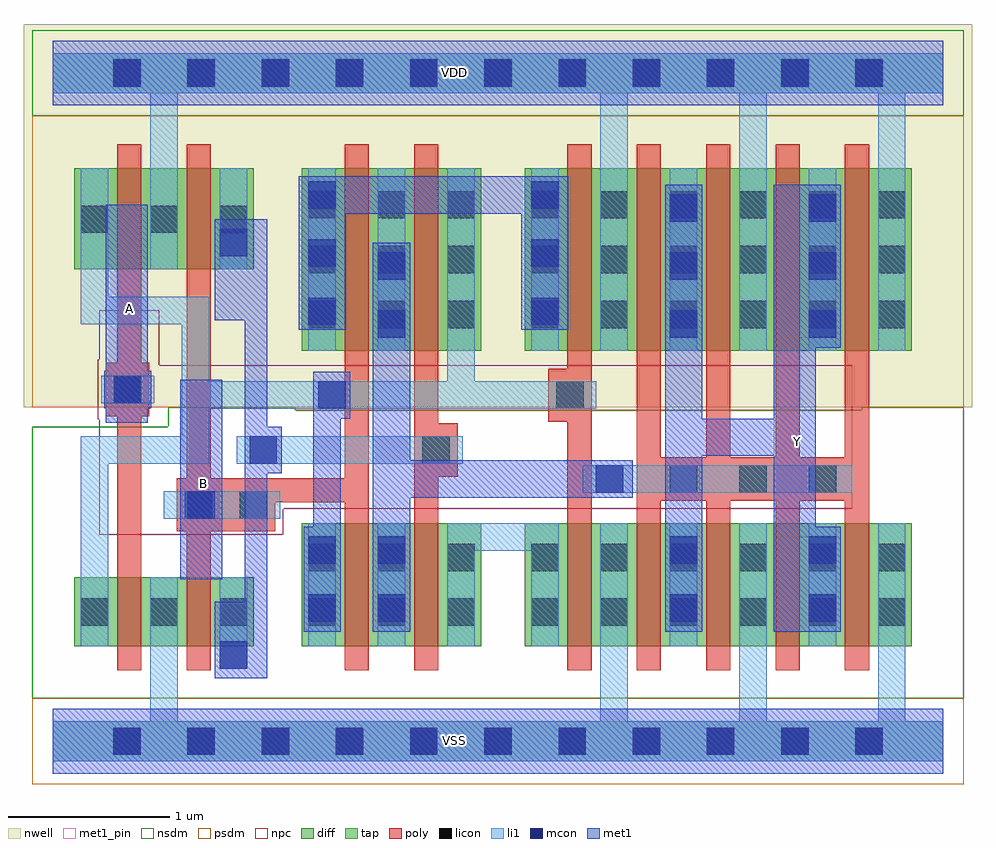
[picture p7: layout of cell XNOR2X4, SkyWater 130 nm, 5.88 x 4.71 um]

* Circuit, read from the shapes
.subckt XNOR2X4 A B VDD VSS Y
XM1 VSS A n1 VSS sky130_fd_pr__nfet_01v8 w=0.425 l=0.15
XM2 n2 B VSS VSS sky130_fd_pr__nfet_01v8 w=0.425 l=0.15
XM3 n3 B n1 VSS sky130_fd_pr__nfet_01v8 w=0.76 l=0.15
XM4 n4 n2 n3 VSS sky130_fd_pr__nfet_01v8 w=0.76 l=0.15
XM5 VSS n1 n4 VSS sky130_fd_pr__nfet_01v8 w=0.76 l=0.15
XM6 Y n3 VSS VSS sky130_fd_pr__nfet_01v8 w=0.76 l=0.15 m=4
XM7 VDD A n1 VDD sky130_fd_pr__pfet_01v8 w=0.625 l=0.15
XM8 n2 B VDD VDD sky130_fd_pr__pfet_01v8 w=0.625 l=0.15
XM9 n3 B n5 VDD sky130_fd_pr__pfet_01v8 w=1.13 l=0.15
XM10 n1 n2 n3 VDD sky130_fd_pr__pfet_01v8 w=1.13 l=0.15
XM11 VDD n1 n5 VDD sky130_fd_pr__pfet_01v8 w=1.13 l=0.15
XM12 Y n3 VDD VDD sky130_fd_pr__pfet_01v8 w=1.13 l=0.15 m=4
.ends

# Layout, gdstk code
from math import pi, radians
import gdstk
lib = gdstk.Library(unit=1e-6, precision=1e-09)
def R(c, l, rs):  # rectangles x0, y0, x1, y1
    for r in rs: c.add(gdstk.rectangle(r[:2], r[2:], *l))
def A(c, l, x, y, w, h, nx, ny, dx, dy):  # array of equal rectangles
    R(c, l, [(x+i*dx, y+j*dy, x+i*dx+w, y+j*dy+h) for i in range(nx) for j in range(ny)])
def P(c, l, *ps):  # polygons
    for p in ps: c.add(gdstk.Polygon(p, *l))
nwell = (64, 20)
diff = (65, 20)
tap = (65, 44)
poly = (66, 20)
licon = (66, 44)
li1 = (67, 20)
mcon = (67, 44)
met1_pin = (68, 16)
met1 = (68, 20)
nsdm = (93, 44)
psdm = (94, 20)
npc = (95, 20)

pfet_01v8_cdns_715785618 = lib.new_cell('pfet_01v8_CDNS_7157856182016')
R(pfet_01v8_cdns_715785618, nwell, [(-0.405,-0.18,1.885,1.31)])
A(pfet_01v8_cdns_715785618, diff, 0, 0, 0.15, 1.13, 4, 1, 0.43, 0)
A(pfet_01v8_cdns_715785618, diff, 0.15, 0, 0.28, 1.13, 3, 1, 0.43, 0)
R(pfet_01v8_cdns_715785618, diff, [(-0.225,0,0,1.13), (1.44,0,1.705,1.13)])
A(pfet_01v8_cdns_715785618, poly, 0, -0.15, 0.15, 0.055, 4, 2, 0.43, 1.375)
A(pfet_01v8_cdns_715785618, poly, 0, -0.095, 0.15, 0.095, 4, 2, 0.43, 1.225)
A(pfet_01v8_cdns_715785618, poly, 0, 0, 0.15, 1.13, 4, 1, 0.43, 0)
A(pfet_01v8_cdns_715785618, licon, -0.225, 0.14, 0.17, 0.17, 5, 3, 0.43, 0.34)
A(pfet_01v8_cdns_715785618, li1, -0.225, 0, 0.17, 1.13, 5, 1, 0.43, 0)
R(pfet_01v8_cdns_715785618, psdm, [(-0.235,-0.13,1.845,1.26)])

nfet_01v8_cdns_715785618 = lib.new_cell('nfet_01v8_CDNS_7157856182041')
R(nfet_01v8_cdns_715785618, diff, [(-0.225,0,0,0.425), (0,0,0.15,0.425), (0.15,0,0.415,0.425)])
R(nfet_01v8_cdns_715785618, poly, [(0,-0.15,0.15,-0.095), (0,-0.095,0.15,0), (0,0,0.15,0.425), (0,0.425,0.15,0.52), (0,0.52,0.15,0.575)])
R(nfet_01v8_cdns_715785618, licon, [(-0.225,0.125,-0.055,0.295), (0.205,0.125,0.375,0.295)])
R(nfet_01v8_cdns_715785618, li1, [(-0.225,0,-0.055,0.425), (0.205,0,0.375,0.425)])
R(nfet_01v8_cdns_715785618, nsdm, [(-0.235,-0.13,0.555,0.555)])

c_nfet_01v8_cdns_715785618 = lib.new_cell('nfet_01v8_CDNS_7157856182018')
A(c_nfet_01v8_cdns_715785618, diff, 0, 0, 0.15, 0.76, 4, 1, 0.43, 0)
A(c_nfet_01v8_cdns_715785618, diff, 0.15, 0, 0.28, 0.76, 3, 1, 0.43, 0)
R(c_nfet_01v8_cdns_715785618, diff, [(-0.225,0,0,0.76), (1.44,0,1.705,0.76)])
A(c_nfet_01v8_cdns_715785618, poly, 0, -0.15, 0.15, 0.055, 4, 2, 0.43, 1.005)
A(c_nfet_01v8_cdns_715785618, poly, 0, -0.095, 0.15, 0.095, 4, 2, 0.43, 0.855)
A(c_nfet_01v8_cdns_715785618, poly, 0, 0, 0.15, 0.76, 4, 1, 0.43, 0)
A(c_nfet_01v8_cdns_715785618, licon, -0.225, 0.125, 0.17, 0.17, 5, 2, 0.43, 0.34)
A(c_nfet_01v8_cdns_715785618, li1, -0.225, 0, 0.17, 0.76, 5, 1, 0.43, 0)
R(c_nfet_01v8_cdns_715785618, nsdm, [(-0.235,-0.13,1.845,0.89)])

c_nfet_01v8_cdns_715785618_ = lib.new_cell('nfet_01v8_CDNS_7157856182042')
R(c_nfet_01v8_cdns_715785618_, diff, [(-0.265,0,0,0.425), (0,0,0.15,0.425), (0.15,0,0.205,0.425)])
R(c_nfet_01v8_cdns_715785618_, poly, [(0,-0.15,0.15,-0.095), (0,-0.095,0.15,0), (0,0,0.15,0.425), (0,0.425,0.15,0.52), (0,0.52,0.15,0.575)])
R(c_nfet_01v8_cdns_715785618_, licon, [(-0.225,0.125,-0.055,0.295)])
R(c_nfet_01v8_cdns_715785618_, li1, [(-0.225,0,-0.055,0.425)])
R(c_nfet_01v8_cdns_715785618_, nsdm, [(-0.405,-0.13,0.215,0.555)])

c_nfet_01v8_cdns_715785618__ = lib.new_cell('nfet_01v8_CDNS_7157856182043')
R(c_nfet_01v8_cdns_715785618__, diff, [(-0.055,0,0,0.76), (0,0,0.15,0.76), (0.15,0,0.415,0.76)])
R(c_nfet_01v8_cdns_715785618__, poly, [(0,-0.15,0.15,-0.095), (0,-0.095,0.15,0), (0,0,0.15,0.76), (0,0.76,0.15,0.855), (0,0.855,0.15,0.91)])
R(c_nfet_01v8_cdns_715785618__, licon, [(0.205,0.125,0.375,0.295), (0.205,0.465,0.375,0.635)])
R(c_nfet_01v8_cdns_715785618__, li1, [(0.205,0,0.375,0.76)])
R(c_nfet_01v8_cdns_715785618__, nsdm, [(-0.065,-0.13,0.555,0.89)])

c_nfet_01v8_cdns_715785618___ = lib.new_cell('nfet_01v8_CDNS_715785618203')
R(c_nfet_01v8_cdns_715785618___, diff, [(-0.055,0,0,0.76), (0,0,0.15,0.76), (0.15,0,0.415,0.76)])
R(c_nfet_01v8_cdns_715785618___, poly, [(0,-0.15,0.15,-0.095), (0,-0.095,0.15,0), (0,0,0.15,0.76), (0,0.76,0.15,0.855), (0,0.855,0.15,0.91)])
R(c_nfet_01v8_cdns_715785618___, licon, [(0.205,0.125,0.375,0.295), (0.205,0.465,0.375,0.635)])
R(c_nfet_01v8_cdns_715785618___, li1, [(0.205,0,0.375,0.76)])
R(c_nfet_01v8_cdns_715785618___, nsdm, [(-0.065,-0.13,0.555,0.89)])

c_pfet_01v8_cdns_715785618 = lib.new_cell('pfet_01v8_CDNS_7157856182044')
R(c_pfet_01v8_cdns_715785618, nwell, [(-0.445,-0.18,0.555,0.805)])
R(c_pfet_01v8_cdns_715785618, diff, [(-0.265,0,0,0.625), (0,0,0.15,0.625), (0.15,0,0.375,0.625)])
R(c_pfet_01v8_cdns_715785618, poly, [(0,-0.15,0.15,-0.095), (0,-0.095,0.15,0), (0,0,0.15,0.625), (0,0.625,0.15,0.72), (0,0.72,0.15,0.775)])
R(c_pfet_01v8_cdns_715785618, licon, [(-0.225,0.225,-0.055,0.395), (0.205,0.225,0.375,0.395)])
R(c_pfet_01v8_cdns_715785618, li1, [(-0.225,0,-0.055,0.625), (0.205,0,0.375,0.625)])
R(c_pfet_01v8_cdns_715785618, psdm, [(-0.405,-0.13,0.385,0.755)])

c_pfet_01v8_cdns_715785618_ = lib.new_cell('pfet_01v8_CDNS_7157856182045')
R(c_pfet_01v8_cdns_715785618_, nwell, [(-0.445,-0.18,0.555,1.31)])
R(c_pfet_01v8_cdns_715785618_, diff, [(-0.265,0,0,1.13), (0,0,0.15,1.13), (0.15,0,0.375,1.13)])
R(c_pfet_01v8_cdns_715785618_, poly, [(0,-0.15,0.15,-0.095), (0,-0.095,0.15,0), (0,0,0.15,1.13), (0,1.13,0.15,1.225), (0,1.225,0.15,1.28)])
A(c_pfet_01v8_cdns_715785618_, licon, -0.225, 0.14, 0.17, 0.17, 1, 3, 0, 0.34)
A(c_pfet_01v8_cdns_715785618_, licon, 0.205, 0.14, 0.17, 0.17, 1, 3, 0, 0.34)
R(c_pfet_01v8_cdns_715785618_, li1, [(-0.225,0,-0.055,1.13), (0.205,0,0.375,1.13)])
R(c_pfet_01v8_cdns_715785618_, psdm, [(-0.405,-0.13,0.385,1.26)])

c_pfet_01v8_cdns_715785618__ = lib.new_cell('pfet_01v8_CDNS_715785618204')
R(c_pfet_01v8_cdns_715785618__, nwell, [(-0.235,-0.18,0.595,1.31)])
R(c_pfet_01v8_cdns_715785618__, diff, [(-0.055,0,0,1.13), (0,0,0.15,1.13), (0.15,0,0.415,1.13)])
R(c_pfet_01v8_cdns_715785618__, poly, [(0,-0.15,0.15,-0.095), (0,-0.095,0.15,0), (0,0,0.15,1.13), (0,1.13,0.15,1.225), (0,1.225,0.15,1.28)])
A(c_pfet_01v8_cdns_715785618__, licon, 0.205, 0.14, 0.17, 0.17, 1, 3, 0, 0.34)
R(c_pfet_01v8_cdns_715785618__, li1, [(0.205,0,0.375,1.13)])
R(c_pfet_01v8_cdns_715785618__, psdm, [(-0.065,-0.13,0.555,1.26)])

c_pfet_01v8_cdns_715785618___ = lib.new_cell('pfet_01v8_CDNS_7157856182046')
R(c_pfet_01v8_cdns_715785618___, nwell, [(-0.235,-0.18,0.595,1.31)])
R(c_pfet_01v8_cdns_715785618___, diff, [(-0.055,0,0,1.13), (0,0,0.15,1.13), (0.15,0,0.415,1.13)])
R(c_pfet_01v8_cdns_715785618___, poly, [(0,-0.15,0.15,-0.095), (0,-0.095,0.15,0), (0,0,0.15,1.13), (0,1.13,0.15,1.225), (0,1.225,0.15,1.28)])
A(c_pfet_01v8_cdns_715785618___, licon, 0.205, 0.14, 0.17, 0.17, 1, 3, 0, 0.34)
R(c_pfet_01v8_cdns_715785618___, li1, [(0.205,0,0.375,1.13)])
R(c_pfet_01v8_cdns_715785618___, psdm, [(-0.065,-0.13,0.555,1.26)])

c_nfet_01v8_cdns_715785618____ = lib.new_cell('nfet_01v8_CDNS_7157856182021')
R(c_nfet_01v8_cdns_715785618____, diff, [(-0.265,0,0,0.76), (0,0,0.15,0.76), (0.15,0,0.375,0.76)])
R(c_nfet_01v8_cdns_715785618____, poly, [(0,-0.15,0.15,-0.095), (0,-0.095,0.15,0), (0,0,0.15,0.76), (0,0.76,0.15,0.855), (0,0.855,0.15,0.91)])
R(c_nfet_01v8_cdns_715785618____, licon, [(-0.225,0.125,-0.055,0.295), (0.205,0.125,0.375,0.295), (-0.225,0.465,-0.055,0.635), (0.205,0.465,0.375,0.635)])
R(c_nfet_01v8_cdns_715785618____, li1, [(-0.225,0,-0.055,0.76), (0.205,0,0.375,0.76)])
R(c_nfet_01v8_cdns_715785618____, nsdm, [(-0.405,-0.13,0.385,0.89)])

c_pfet_01v8_cdns_715785618____ = lib.new_cell('pfet_01v8_CDNS_7157856182017')
R(c_pfet_01v8_cdns_715785618____, nwell, [(-0.235,-0.18,0.595,0.805)])
R(c_pfet_01v8_cdns_715785618____, diff, [(-0.055,0,0,0.625), (0,0,0.15,0.625), (0.15,0,0.415,0.625)])
R(c_pfet_01v8_cdns_715785618____, poly, [(0,-0.15,0.15,-0.095), (0,-0.095,0.15,0), (0,0,0.15,0.625), (0,0.625,0.15,0.72), (0,0.72,0.15,0.775)])
R(c_pfet_01v8_cdns_715785618____, licon, [(0.205,0.225,0.375,0.395)])
R(c_pfet_01v8_cdns_715785618____, li1, [(0.205,0,0.375,0.625)])
R(c_pfet_01v8_cdns_715785618____, psdm, [(-0.065,-0.13,0.555,0.755)])

polyconn_cdns_7157856182 = lib.new_cell('polyConn_CDNS_7157856182040')
R(polyconn_cdns_7157856182, poly, [(-0.165,-0.135,0.165,0.135)])
R(polyconn_cdns_7157856182, licon, [(-0.085,-0.085,0.085,0.085)])
R(polyconn_cdns_7157856182, li1, [(-0.085,-0.165,0.085,0.165)])
R(polyconn_cdns_7157856182, mcon, [(-0.085,-0.085,0.085,0.085)])
R(polyconn_cdns_7157856182, met1, [(-0.115,-0.145,0.115,0.145)])
R(polyconn_cdns_7157856182, npc, [(-0.185,-0.185,0.185,0.185)])

pyl1con_c_cdns_715785618 = lib.new_cell('PYL1CON_C_CDNS_715785618200')
R(pyl1con_c_cdns_715785618, poly, [(-0.135,-0.165,0.135,0.165)])
R(pyl1con_c_cdns_715785618, licon, [(-0.085,-0.085,0.085,0.085)])
R(pyl1con_c_cdns_715785618, npc, [(-0.185,-0.185,0.185,0.185)])

l1m1_c_cdns_715785618202 = lib.new_cell('L1M1_C_CDNS_715785618202')
R(l1m1_c_cdns_715785618202, li1, [(-0.085,-0.165,0.085,0.165)])
R(l1m1_c_cdns_715785618202, mcon, [(-0.085,-0.085,0.085,0.085)])
R(l1m1_c_cdns_715785618202, met1, [(-0.115,-0.145,0.115,0.145)])

l1m1_c_cdns_715785618203 = lib.new_cell('L1M1_C_CDNS_715785618203')
R(l1m1_c_cdns_715785618203, li1, [(-0.165,-0.085,0.165,0.085)])
R(l1m1_c_cdns_715785618203, mcon, [(-0.085,-0.085,0.085,0.085)])
R(l1m1_c_cdns_715785618203, met1, [(-0.115,-0.145,0.115,0.145)])

l1m1_c_cdns_715785618205 = lib.new_cell('L1M1_C_CDNS_715785618205')
R(l1m1_c_cdns_715785618205, li1, [(-0.085,-0.345,0.085,0.345)])
R(l1m1_c_cdns_715785618205, mcon, [(-0.085,-0.265,0.085,-0.095), (-0.085,0.095,0.085,0.265)])
R(l1m1_c_cdns_715785618205, met1, [(-0.115,-0.325,0.115,0.325)])

l1m1_c_cdns_715785618206 = lib.new_cell('L1M1_C_CDNS_715785618206')
R(l1m1_c_cdns_715785618206, li1, [(-0.085,-0.165,0.085,0.165)])
R(l1m1_c_cdns_715785618206, mcon, [(-0.085,-0.085,0.085,0.085)])
R(l1m1_c_cdns_715785618206, met1, [(-0.145,-0.115,0.145,0.115)])

l1m1_c_cdns_715785618207 = lib.new_cell('L1M1_C_CDNS_715785618207')
R(l1m1_c_cdns_715785618207, li1, [(-0.165,-0.085,0.165,0.085)])
R(l1m1_c_cdns_715785618207, mcon, [(-0.085,-0.085,0.085,0.085)])
R(l1m1_c_cdns_715785618207, met1, [(-0.145,-0.115,0.145,0.115)])

l1m1_c_cdns_715785618201 = lib.new_cell('L1M1_C_CDNS_7157856182016')
R(l1m1_c_cdns_715785618201, li1, [(-0.085,-0.525,0.085,0.525)])
A(l1m1_c_cdns_715785618201, mcon, -0.085, -0.445, 0.17, 0.17, 1, 3, 0, 0.36)
R(l1m1_c_cdns_715785618201, met1, [(-0.145,-0.475,0.145,0.475)])

l1m1_c_cdns_715785618204 = lib.new_cell('L1M1_C_CDNS_715785618204')
R(l1m1_c_cdns_715785618204, li1, [(-0.085,-0.525,0.085,0.525)])
A(l1m1_c_cdns_715785618204, mcon, -0.085, -0.445, 0.17, 0.17, 1, 3, 0, 0.36)
R(l1m1_c_cdns_715785618204, met1, [(-0.115,-0.505,0.115,0.505)])

c_l1m1_c_cdns_715785618201 = lib.new_cell('L1M1_C_CDNS_7157856182010')
R(c_l1m1_c_cdns_715785618201, li1, [(-0.085,-0.085,0.085,0.165)])
R(c_l1m1_c_cdns_715785618201, mcon, [(-0.085,-0.085,0.085,0.085)])
R(c_l1m1_c_cdns_715785618201, met1, [(-0.115,-0.145,0.115,0.145)])

xnor2x4 = lib.new_cell('XNOR2X4')
R(xnor2x4, nwell, [(-0.18,2.07,5.7,4.445), (-0.18,3.875,5.7,4.445)])
R(xnor2x4, poly, [(0.77,1.3,1.38,1.63)])
A(xnor2x4, licon, 0.375, -0.085, 0.17, 0.17, 11, 2, 0.46, 4.14)
A(xnor2x4, mcon, 0.375, -0.085, 0.17, 0.17, 11, 2, 0.46, 4.14)
R(xnor2x4, met1_pin, [(0.79,1.005,1.05,2.24), (4.47,1.265,4.73,2.505), (0.33,1.975,0.59,3.325)])
R(xnor2x4, met1, [(1.005,0.39,1.33,0.865), (1.005,0.39,1.235,0.865), (1.005,2.61,1.33,3.235)])
R(xnor2x4, nsdm, [(-0.125,3.875,5.645,4.405), (-0.125,3.93,5.645,4.35)])
P(xnor2x4, nsdm, [(5.645,2.07),(5.015,2.07),(5.015,2.05),(1.505,2.05),(1.505,2.07),(0.715,2.07),(0.715,1.95),(-0.125,1.95),(-0.125,0.265),(5.645,0.265)])
R(xnor2x4, psdm, [(-0.125,-0.265,5.645,0.265), (-0.125,-0.21,5.645,0.21)])
P(xnor2x4, psdm, [(5.645,3.875),(-0.125,3.875),(-0.125,2.07),(1.505,2.07),(1.505,2.05),(5.015,2.05),(5.015,2.07),(5.645,2.07)])
P(xnor2x4, npc, [(4.955,2.33),(0.66,2.33),(0.66,2.67),(0.29,2.67),(0.29,1.28),(1.43,1.28),(1.43,1.44),(4.955,1.44)])
xnor2x4.add(gdstk.FlexPath([(1.885,1.555),(0.77,1.555)], 0.15, ends=(0.075, 0), simple_path=True, layer=66, datatype=20))  # poly
xnor2x4.add(gdstk.FlexPath([(0.905,1.11),(0.905,2.83)], 0.15, ends="flush", simple_path=True, layer=66, datatype=20))  # poly
xnor2x4.add(gdstk.FlexPath([(0.475,2.83),(0.475,1.11)], 0.15, ends="flush", simple_path=True, layer=66, datatype=20))  # poly
xnor2x4.add(gdstk.FlexPath([(3.695,2.325),(3.695,1.445)], 0.15, ends="flush", simple_path=True, layer=66, datatype=20))  # poly
xnor2x4.add(gdstk.FlexPath([(4.125,2.325),(4.125,1.445)], 0.15, ends="flush", simple_path=True, layer=66, datatype=20))  # poly
xnor2x4.add(gdstk.FlexPath([(4.555,2.325),(4.555,1.445)], 0.15, ends="flush", simple_path=True, layer=66, datatype=20))  # poly
xnor2x4.add(gdstk.FlexPath([(2.315,2.325),(2.315,1.45)], 0.15, ends="flush", simple_path=True, layer=66, datatype=20))  # poly
xnor2x4.add(gdstk.FlexPath([(1.885,1.555),(1.885,2.325)], 0.15, ends=(0.075, 0), simple_path=True, layer=66, datatype=20))  # poly
xnor2x4.add(gdstk.FlexPath([(4.985,2.42),(4.985,1.445)], 0.15, ends="flush", simple_path=True, layer=66, datatype=20))  # poly
xnor2x4.add(gdstk.FlexPath([(3.265,2.325),(3.265,1.445)], 0.15, ends="flush", simple_path=True, layer=66, datatype=20))  # poly
xnor2x4.add(gdstk.FlexPath([(0,4.14),(5.52,4.14)], 0.4, ends="flush", simple_path=True, layer=68, datatype=16))  # met1_pin
xnor2x4.add(gdstk.FlexPath([(0,0),(5.52,0)], 0.4, ends="flush", simple_path=True, layer=68, datatype=16))  # met1_pin
xnor2x4.add(gdstk.FlexPath([(0.26,2.67),(0.26,2.925)], 0.17, ends=(0.085, 0), simple_path=True, layer=67, datatype=20))  # li1
xnor2x4.add(gdstk.FlexPath([(0.26,1.015),(0.26,1.805)], 0.17, ends=(0, 0.085), simple_path=True, layer=67, datatype=20))  # li1
xnor2x4.add(gdstk.FlexPath([(3.37,2.145),(0.885,2.145)], 0.17, ends="flush", simple_path=True, layer=67, datatype=20))  # li1
xnor2x4.add(gdstk.FlexPath([(2.54,1.805),(1.14,1.805)], 0.17, ends="flush", simple_path=True, layer=67, datatype=20))  # li1
xnor2x4.add(gdstk.FlexPath([(4.955,1.625),(3.285,1.625)], 0.17, ends="flush", simple_path=True, layer=67, datatype=20))  # li1
xnor2x4.add(gdstk.FlexPath([(2.53,3.55),(2.53,2.06)], 0.17, ends="flush", simple_path=True, layer=67, datatype=20))  # li1
xnor2x4.add(gdstk.FlexPath([(3.135,1.265),(2.445,1.265)], 0.17, ends="flush", simple_path=True, layer=67, datatype=20))  # li1
xnor2x4.add(gdstk.FlexPath([(1.41,1.465),(0.69,1.465)], 0.17, ends="flush", simple_path=True, layer=67, datatype=20))  # li1
xnor2x4.add(gdstk.FlexPath([(0.885,2.67),(0.26,2.67)], 0.17, ends="extended", simple_path=True, layer=67, datatype=20))  # li1
xnor2x4.add(gdstk.FlexPath([(0.885,1.805),(0.885,2.67)], 0.17, ends="extended", simple_path=True, layer=67, datatype=20))  # li1
xnor2x4.add(gdstk.FlexPath([(0.26,1.805),(0.885,1.805)], 0.17, ends="extended", simple_path=True, layer=67, datatype=20))  # li1
xnor2x4.add(gdstk.FlexPath([(0,0),(5.52,0)], 0.25, ends="flush", simple_path=True, layer=67, datatype=20))  # li1
xnor2x4.add(gdstk.FlexPath([(0,4.14),(5.52,4.14)], 0.25, ends="flush", simple_path=True, layer=67, datatype=20))  # li1
xnor2x4.add(gdstk.FlexPath([(3.48,2.925),(3.48,4.265)], 0.17, ends="flush", simple_path=True, layer=67, datatype=20))  # li1
xnor2x4.add(gdstk.FlexPath([(4.34,-0.125),(4.34,0.59)], 0.17, ends="flush", simple_path=True, layer=67, datatype=20))  # li1
xnor2x4.add(gdstk.FlexPath([(4.34,2.925),(4.34,4.265)], 0.17, ends="flush", simple_path=True, layer=67, datatype=20))  # li1
xnor2x4.add(gdstk.FlexPath([(5.2,-0.125),(5.2,0.59)], 0.17, ends="flush", simple_path=True, layer=67, datatype=20))  # li1
xnor2x4.add(gdstk.FlexPath([(5.2,2.925),(5.2,4.265)], 0.17, ends="flush", simple_path=True, layer=67, datatype=20))  # li1
xnor2x4.add(gdstk.FlexPath([(0.69,-0.125),(0.69,1.015)], 0.17, ends="flush", simple_path=True, layer=67, datatype=20))  # li1
xnor2x4.add(gdstk.FlexPath([(0.69,2.925),(0.69,4.265)], 0.17, ends="flush", simple_path=True, layer=67, datatype=20))  # li1
xnor2x4.add(gdstk.FlexPath([(3.48,-0.125),(3.48,0.59)], 0.17, ends="flush", simple_path=True, layer=67, datatype=20))  # li1
xnor2x4.add(gdstk.FlexPath([(0,4.14),(5.52,4.14)], 0.25, ends="flush", simple_path=True, layer=65, datatype=44))  # tap
xnor2x4.add(gdstk.FlexPath([(0,0),(5.52,0)], 0.25, ends="flush", simple_path=True, layer=65, datatype=44))  # tap
xnor2x4.add(gdstk.FlexPath([(1.075,2.68),(1.075,3.09)], 0.14, ends=(0.07, 0), simple_path=True, layer=68, datatype=20))  # met1
xnor2x4.add(gdstk.FlexPath([(1.26,2.68),(1.075,2.68)], 0.14, ends="extended", simple_path=True, layer=68, datatype=20))  # met1
xnor2x4.add(gdstk.FlexPath([(4.6,0.68),(4.6,3.45)], 0.26, ends="flush", simple_path=True, layer=68, datatype=20))  # met1
xnor2x4.add(gdstk.FlexPath([(0.92,1.005),(0.92,2.24)], 0.26, ends="flush", simple_path=True, layer=68, datatype=20))  # met1
xnor2x4.add(gdstk.FlexPath([(1.075,0.795),(1.26,0.795)], 0.14, ends="extended", simple_path=True, layer=68, datatype=20))  # met1
xnor2x4.add(gdstk.FlexPath([(0.46,1.975),(0.46,3.325)], 0.26, ends="flush", simple_path=True, layer=68, datatype=20))  # met1
xnor2x4.add(gdstk.FlexPath([(1.075,0.535),(1.075,0.795)], 0.14, ends=(0, 0.07), simple_path=True, layer=68, datatype=20))  # met1
xnor2x4.add(gdstk.FlexPath([(4.73,1.885),(3.795,1.885)], 0.23, ends="flush", simple_path=True, layer=68, datatype=20))  # met1
xnor2x4.add(gdstk.FlexPath([(1.7,0.705),(1.7,2.29)], 0.17, ends="flush", simple_path=True, layer=68, datatype=20))  # met1
xnor2x4.add(gdstk.FlexPath([(3.91,0.68),(3.91,3.45)], 0.23, ends="flush", simple_path=True, layer=68, datatype=20))  # met1
xnor2x4.add(gdstk.FlexPath([(1.525,3.385),(3.195,3.385)], 0.23, ends="flush", simple_path=True, layer=68, datatype=20))  # met1
xnor2x4.add(gdstk.FlexPath([(3.595,1.625),(1.985,1.625)], 0.23, ends="flush", simple_path=True, layer=68, datatype=20))  # met1
xnor2x4.add(gdstk.FlexPath([(2.1,0.68),(2.1,3.09)], 0.23, ends="flush", simple_path=True, layer=68, datatype=20))  # met1
xnor2x4.add(gdstk.FlexPath([(1.26,0.795),(1.26,2.68)], 0.14, ends="extended", simple_path=True, layer=68, datatype=20))  # met1
xnor2x4.add(gdstk.FlexPath([(0,4.14),(5.52,4.14)], 0.4, ends="flush", simple_path=True, layer=68, datatype=20))  # met1
xnor2x4.add(gdstk.FlexPath([(0,0),(5.52,0)], 0.4, ends="flush", simple_path=True, layer=68, datatype=20))  # met1
xnor2x4.add(gdstk.Reference(pfet_01v8_cdns_715785618, (3.62,2.42)))
xnor2x4.add(gdstk.Reference(nfet_01v8_cdns_715785618, (0.83,0.59)))
xnor2x4.add(gdstk.Reference(c_nfet_01v8_cdns_715785618, (3.62,0.59)))
xnor2x4.add(gdstk.Reference(c_nfet_01v8_cdns_715785618_, (0.4,0.59)))
xnor2x4.add(gdstk.Reference(c_nfet_01v8_cdns_715785618__, (2.24,0.59)))
xnor2x4.add(gdstk.Reference(c_nfet_01v8_cdns_715785618___, (3.34,0.59), rotation=pi, x_reflection=True))
xnor2x4.add(gdstk.Reference(c_pfet_01v8_cdns_715785618, (0.4,2.925)))
xnor2x4.add(gdstk.Reference(c_pfet_01v8_cdns_715785618_, (1.81,2.42)))
xnor2x4.add(gdstk.Reference(c_pfet_01v8_cdns_715785618__, (3.34,2.42), rotation=pi, x_reflection=True))
xnor2x4.add(gdstk.Reference(c_pfet_01v8_cdns_715785618___, (2.24,2.42)))
xnor2x4.add(gdstk.Reference(c_nfet_01v8_cdns_715785618____, (1.81,0.59)))
xnor2x4.add(gdstk.Reference(c_pfet_01v8_cdns_715785618____, (0.83,2.925)))
xnor2x4.add(gdstk.Reference(polyconn_cdns_7157856182, (0.465,2.18), rotation=pi/2))
xnor2x4.add(gdstk.Reference(pyl1con_c_cdns_715785618, (4.34,1.625), rotation=3*pi/2, x_reflection=True))
xnor2x4.add(gdstk.Reference(pyl1con_c_cdns_715785618, (3.91,1.625), rotation=3*pi/2, x_reflection=True))
xnor2x4.add(gdstk.Reference(pyl1con_c_cdns_715785618, (2.375,1.805), x_reflection=True))
xnor2x4.add(gdstk.Reference(pyl1con_c_cdns_715785618, (3.205,2.145), x_reflection=True))
xnor2x4.add(gdstk.Reference(pyl1con_c_cdns_715785618, (1.245,1.465), x_reflection=True))
xnor2x4.add(gdstk.Reference(pyl1con_c_cdns_715785618, (4.77,1.625), rotation=3*pi/2, x_reflection=True))
xnor2x4.add(gdstk.Reference(pyl1con_c_cdns_715785618, (0.905,1.465), rotation=pi, x_reflection=True))
xnor2x4.add(gdstk.Reference(l1m1_c_cdns_715785618202, (1.12,3.09)))
xnor2x4.add(gdstk.Reference(l1m1_c_cdns_715785618203, (1.73,2.145)))
xnor2x4.add(gdstk.Reference(l1m1_c_cdns_715785618203, (0.92,1.465), x_reflection=True))
xnor2x4.add(gdstk.Reference(l1m1_c_cdns_715785618205, (1.67,1.005)))
xnor2x4.add(gdstk.Reference(l1m1_c_cdns_715785618205, (4.77,1.005)))
xnor2x4.add(gdstk.Reference(l1m1_c_cdns_715785618205, (3.91,1.005)))
xnor2x4.add(gdstk.Reference(l1m1_c_cdns_715785618205, (2.1,2.765)))
xnor2x4.add(gdstk.Reference(l1m1_c_cdns_715785618205, (2.1,1.005)))
xnor2x4.add(gdstk.Reference(l1m1_c_cdns_715785618206, (1.305,1.805), rotation=pi/2))
xnor2x4.add(gdstk.Reference(l1m1_c_cdns_715785618207, (3.45,1.625)))
xnor2x4.add(gdstk.Reference(l1m1_c_cdns_715785618201, (1.67,3.025)))
xnor2x4.add(gdstk.Reference(l1m1_c_cdns_715785618201, (3.05,3.025)))
xnor2x4.add(gdstk.Reference(l1m1_c_cdns_715785618204, (4.77,2.945)))
xnor2x4.add(gdstk.Reference(l1m1_c_cdns_715785618204, (3.91,2.945)))
xnor2x4.add(gdstk.Reference(c_l1m1_c_cdns_715785618201, (1.12,0.535)))
xnor2x4.add(gdstk.Label('VDD', (2.49,4.145), layer=68, texttype=16))
xnor2x4.add(gdstk.Label('A', (0.475,2.68), layer=68, texttype=16))
xnor2x4.add(gdstk.Label('Y', (4.615,1.86), layer=68, texttype=16))
xnor2x4.add(gdstk.Label('B', (0.935,1.6), layer=68, texttype=16))
xnor2x4.add(gdstk.Label('VSS', (2.49,0.005), layer=68, texttype=16))

lib.write_gds('XNOR2X4.gds')
